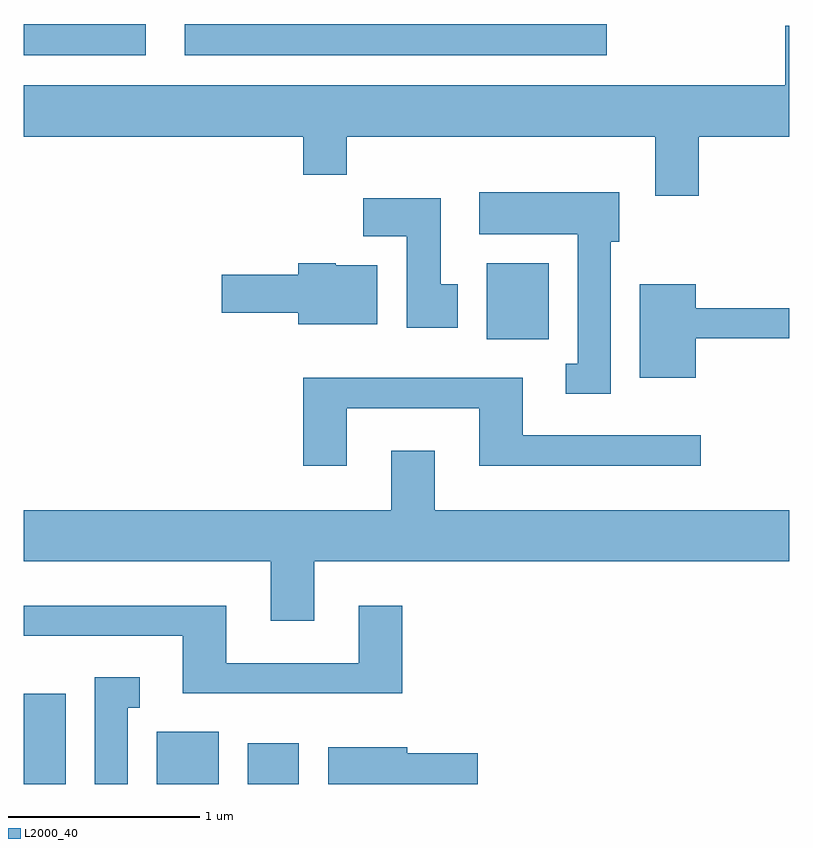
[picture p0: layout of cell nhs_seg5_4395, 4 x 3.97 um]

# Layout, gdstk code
import gdstk
lib = gdstk.Library(unit=1e-6, precision=1e-09)
def R(c, l, rs):  # rectangles x0, y0, x1, y1
    for r in rs: c.add(gdstk.rectangle(r[:2], r[2:], *l))
def P(c, l, *ps):  # polygons
    for p in ps: c.add(gdstk.Polygon(p, *l))
L2000_40 = (2000, 40)

nhs_seg5_4395 = lib.new_cell('nhs_seg5_4395')
R(nhs_seg5_4395, L2000_40, [(315.611,1460.072,315.829,1460.544), (316.306,1460.072,316.629,1460.344), (316.781,1460.072,317.049,1460.284), (318.031,1462.396,318.354,1462.794), (315.611,1463.881,316.248,1464.044), (316.453,1463.881,318.658,1464.044)])
P(nhs_seg5_4395, L2000_40, [(315.611,1463.456),(317.071,1463.456),(317.071,1463.256),(317.299,1463.256),(317.299,1463.456),(318.911,1463.456),(318.911,1463.146),(319.139,1463.146),(319.139,1463.456),(319.611,1463.456),(319.611,1464.034),(319.591,1464.034),(319.591,1463.724),(315.611,1463.724)],
  [(318.679,1462.906),(318.724,1462.906),(318.724,1463.164),(317.991,1463.164),(317.991,1462.946),(318.506,1462.946),(318.506,1462.269),(318.443,1462.269),(318.443,1462.111),(318.679,1462.111)],
  [(317.879,1462.684),(317.789,1462.684),(317.789,1463.134),(317.386,1463.134),(317.386,1462.936),(317.611,1462.936),(317.611,1462.456),(317.879,1462.456)],
  [(317.459,1462.784),(317.24,1462.784),(317.24,1462.794),(317.046,1462.794),(317.046,1462.734),(316.646,1462.734),(316.646,1462.536),(317.046,1462.536),(317.046,1462.476),(317.459,1462.476)],
  [(319.124,1462.401),(319.611,1462.401),(319.611,1462.559),(319.124,1462.559),(319.124,1462.684),(318.831,1462.684),(318.831,1462.196),(319.124,1462.196)],
  [(317.299,1462.036),(317.991,1462.036),(317.991,1461.736),(319.148,1461.736),(319.148,1461.894),(318.219,1461.894),(318.219,1462.194),(317.071,1462.194),(317.071,1461.736),(317.299,1461.736)],
  [(317.129,1461.236),(319.611,1461.236),(319.611,1461.504),(317.759,1461.504),(317.759,1461.814),(317.531,1461.814),(317.531,1461.504),(315.611,1461.504),(315.611,1461.236),(316.901,1461.236),(316.901,1460.926),(317.129,1460.926)],
  [(317.589,1461.004),(317.361,1461.004),(317.361,1460.704),(316.669,1460.704),(316.669,1461.004),(315.611,1461.004),(315.611,1460.846),(316.441,1460.846),(316.441,1460.546),(317.589,1460.546)],
  [(316.154,1460.471),(316.218,1460.471),(316.218,1460.629),(315.981,1460.629),(315.981,1460.072),(316.154,1460.072)],
  [(317.984,1460.234),(317.614,1460.234),(317.614,1460.264),(317.201,1460.264),(317.201,1460.072),(317.984,1460.072)])

lib.write_gds('nhs_seg5_4395.gds')
